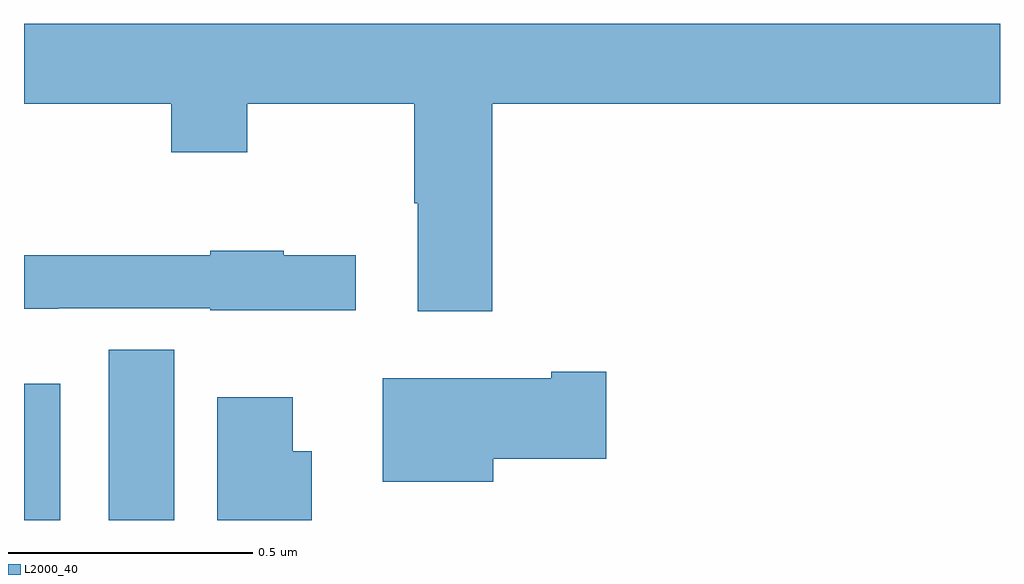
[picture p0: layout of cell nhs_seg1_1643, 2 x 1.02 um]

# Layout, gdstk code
import gdstk
lib = gdstk.Library(unit=1e-6, precision=1e-09)
def R(c, l, rs):  # rectangles x0, y0, x1, y1
    for r in rs: c.add(gdstk.rectangle(r[:2], r[2:], *l))
def P(c, l, *ps):  # polygons
    for p in ps: c.add(gdstk.Polygon(p, *l))
L2000_40 = (2000, 40)

nhs_seg1_1643 = lib.new_cell('nhs_seg1_1643')
R(nhs_seg1_1643, L2000_40, [(131,564.199,131.074,564.478), (131.174,564.199,131.308,564.548)])
P(nhs_seg1_1643, L2000_40, [(131.96,565.052),(133,565.052),(133,565.216),(131,565.216),(131,565.052),(131.302,565.052),(131.302,564.953),(131.457,564.953),(131.457,565.052),(131.8,565.052),(131.8,564.848),(131.807,564.848),(131.807,564.627),(131.96,564.627)],
  [(131.68,564.742),(131.532,564.742),(131.532,564.751),(131.382,564.751),(131.382,564.742),(131,564.742),(131,564.632),(131.07,564.632),(131.07,564.633),(131.382,564.633),(131.382,564.629),(131.68,564.629)],
  [(131.962,564.325),(132.193,564.325),(132.193,564.503),(132.08,564.503),(132.08,564.49),(131.735,564.49),(131.735,564.278),(131.962,564.278)],
  [(131.59,564.34),(131.551,564.34),(131.551,564.451),(131.396,564.451),(131.396,564.199),(131.59,564.199)])

lib.write_gds('nhs_seg1_1643.gds')
